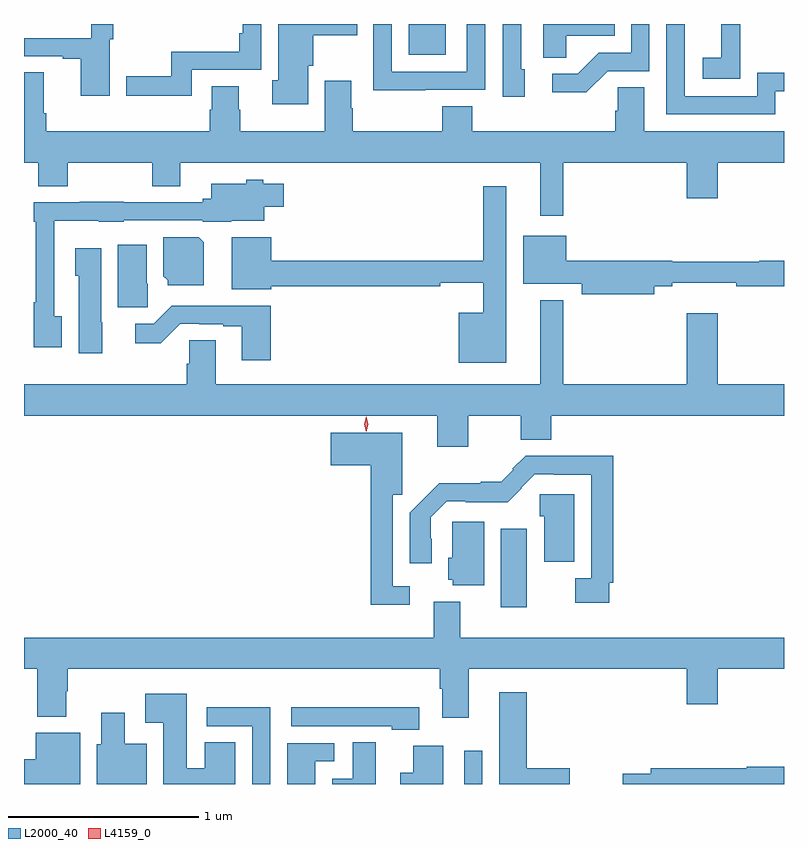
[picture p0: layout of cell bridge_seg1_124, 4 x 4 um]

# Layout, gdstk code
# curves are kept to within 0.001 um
import gdstk
lib = gdstk.Library(unit=1e-6, precision=1e-09)
def R(c, l, rs):  # rectangles x0, y0, x1, y1
    for r in rs: c.add(gdstk.rectangle(r[:2], r[2:], *l))
def P(c, l, *ps):  # polygons
    for p in ps: c.add(gdstk.Polygon(p, *l))
L2000_40 = (2000, 40)
L4159_0 = (4159, 0)

bridge_seg1_124 = lib.new_cell('bridge_seg1_124')
R(bridge_seg1_124, L2000_40, [(235.764,507.169,235.86,507.343), (235.958,508.098,236.095,508.513), (235.472,511.007,235.669,511.169)])
P(bridge_seg1_124, L2000_40, [(236.301,511.106),(236.558,511.106),(236.558,511.169),(236.18,511.169),(236.18,510.991),(236.301,510.991)],
  [(236.083,510.93),(236.064,510.93),(236.064,511.169),(235.968,511.169),(235.968,510.786),(236.083,510.786)],
  [(236.52,510.921),(236.739,510.921),(236.739,511.169),(236.643,511.169),(236.643,511.017),(236.474,511.017),(236.363,510.906),(236.229,510.906),(236.229,510.809),(236.407,510.809)],
  [(237.219,511.087),(237.218,511.087),(237.218,511.169),(237.119,511.169),(237.119,510.991),(237.021,510.991),(237.021,510.881),(237.219,510.881)],
  [(234.33,510.927),(234.696,510.927),(234.696,511.169),(234.6,511.169),(234.6,511.12),(234.58,511.12),(234.58,511.024),(234.222,511.024),(234.222,510.893),(233.985,510.893),(233.985,510.791),(234.33,510.791)],
  [(233.898,511.088),(233.918,511.088),(233.918,511.169),(233.802,511.169),(233.802,511.095),(233.448,511.095),(233.448,510.999),(233.651,510.999),(233.651,510.987),(233.747,510.987),(233.747,510.792),(233.898,510.792)],
  [(235.559,510.822),(235.875,510.822),(235.875,511.169),(235.779,511.169),(235.779,510.918),(235.383,510.918),(235.383,511.169),(235.287,511.169),(235.287,510.821),(235.559,510.821)],
  [(237.403,510.816),(237.448,510.816),(237.448,510.912),(237.306,510.912),(237.306,510.789),(236.925,510.789),(236.925,511.169),(236.829,511.169),(236.829,510.693),(237.403,510.693)],
  [(234.943,510.948),(234.97,510.948),(234.97,511.109),(235.201,511.109),(235.201,511.169),(234.785,511.169),(234.785,510.872),(234.755,510.872),(234.755,510.746),(234.943,510.746)],
  [(234.577,510.717),(234.577,510.842),(234.437,510.842),(234.437,510.717),(234.425,510.717),(234.425,510.604),(233.564,510.604),(233.564,510.7),(233.551,510.7),(233.551,510.914),(233.448,510.914),(233.448,510.44),(233.524,510.44),(233.524,510.316),(233.679,510.316),(233.679,510.44),(234.124,510.44),(234.124,510.316),(234.271,510.316),(234.271,510.44),(236.165,510.44),(236.165,510.159),(236.287,510.159),(236.287,510.44),(236.936,510.44),(236.936,510.252),(237.1,510.252),(237.1,510.44),(237.448,510.44),(237.448,510.604),(236.713,510.604),(236.713,510.836),(236.574,510.836),(236.574,510.713),(236.561,510.713),(236.561,510.604),(235.808,510.604),(235.808,510.737),(235.648,510.737),(235.648,510.604),(235.179,510.604),(235.179,510.725),(235.171,510.725),(235.171,510.871),(235.031,510.871),(235.031,510.604),(234.585,510.604),(234.585,510.717)],
  [(233.647,509.63),(233.607,509.63),(233.607,510.134),(233.841,510.134),(233.841,510.128),(233.973,510.128),(233.973,510.135),(234.39,510.135),(234.39,510.128),(234.54,510.128),(234.54,510.134),(234.712,510.134),(234.712,510.206),(234.814,510.206),(234.814,510.328),(234.708,510.328),(234.708,510.349),(234.618,510.349),(234.618,510.328),(234.434,510.328),(234.434,510.25),(234.39,510.25),(234.39,510.231),(233.973,510.231),(233.973,510.233),(233.741,510.233),(233.741,510.231),(233.499,510.231),(233.499,510.128),(233.511,510.128),(233.511,509.705),(233.499,509.705),(233.499,509.469),(233.647,509.469)],
  [(235.987,510.316),(235.866,510.316),(235.866,509.924),(234.748,509.924),(234.748,510.046),(234.542,510.046),(234.542,509.774),(234.748,509.774),(234.748,509.788),(235.64,509.788),(235.64,509.807),(235.866,509.807),(235.866,509.65),(235.736,509.65),(235.736,509.387),(235.987,509.387)],
  [(236.764,509.788),(236.86,509.788),(236.86,509.807),(237.196,509.807),(237.196,509.788),(237.448,509.788),(237.448,509.924),(237.317,509.924),(237.317,509.917),(236.86,509.917),(236.86,509.924),(236.302,509.924),(236.302,510.055),(236.075,510.055),(236.075,509.801),(236.384,509.801),(236.384,509.746),(236.764,509.746)],
  [(234.394,510.02),(234.368,510.046),(234.182,510.046),(234.182,509.842),(234.204,509.82),(234.204,509.795),(234.394,509.795)],
  [(234.098,509.802),(234.094,509.802),(234.094,510.007),(233.942,510.007),(233.942,509.679),(234.098,509.679)],
  [(233.86,509.598),(233.854,509.598),(233.854,509.989),(233.717,509.989),(233.717,509.844),(233.735,509.844),(233.735,509.436),(233.86,509.436)],
  [(235.786,509.108),(236.063,509.108),(236.063,508.982),(236.224,508.982),(236.224,509.108),(237.448,509.108),(237.448,509.272),(237.1,509.272),(237.1,509.647),(236.936,509.647),(236.936,509.272),(236.287,509.272),(236.287,509.716),(236.165,509.716),(236.165,509.272),(234.457,509.272),(234.457,509.504),(234.318,509.504),(234.318,509.382),(234.305,509.382),(234.305,509.272),(233.448,509.272),(233.448,509.108),(235.622,509.108),(235.622,508.944),(235.786,508.944)],
  [(234.746,509.686),(234.226,509.686),(234.132,509.592),(234.033,509.592),(234.033,509.49),(234.168,509.49),(234.27,509.592),(234.37,509.592),(234.37,509.589),(234.497,509.589),(234.497,509.577),(234.593,509.577),(234.593,509.4),(234.746,509.4)],
  [(235.477,508.209),(235.389,508.209),(235.389,508.692),(235.439,508.692),(235.439,509.017),(235.062,509.017),(235.062,508.847),(235.273,508.847),(235.273,508.112),(235.477,508.112)],
  [(236.529,508.228),(236.549,508.228),(236.549,508.897),(236.089,508.897),(236.019,508.827),(236.023,508.823),(235.961,508.761),(235.853,508.761),(235.853,508.753),(235.633,508.753),(235.478,508.596),(235.478,508.332),(235.594,508.332),(235.594,508.459),(235.59,508.459),(235.59,508.572),(235.674,508.656),(235.774,508.656),(235.774,508.652),(235.993,508.652),(236.067,508.725),(236.064,508.728),(236.136,508.8),(236.236,508.8),(236.236,508.796),(236.433,508.796),(236.433,508.252),(236.349,508.252),(236.349,508.124),(236.529,508.124)],
  [(236.344,508.695),(236.163,508.695),(236.163,508.578),(236.186,508.578),(236.186,508.34),(236.344,508.34)],
  [(235.87,508.548),(235.701,508.548),(235.701,508.359),(235.682,508.359),(235.682,508.245),(235.704,508.245),(235.704,508.214),(235.87,508.214)],
  [(233.448,507.776),(233.519,507.776),(233.519,507.524),(233.671,507.524),(233.671,507.656),(233.679,507.656),(233.679,507.776),(235.637,507.776),(235.637,507.67),(235.649,507.67),(235.649,507.519),(235.789,507.519),(235.789,507.776),(236.936,507.776),(236.936,507.588),(237.1,507.588),(237.1,507.776),(237.448,507.776),(237.448,507.94),(235.744,507.94),(235.744,508.129),(235.604,508.129),(235.604,507.94),(233.448,507.94)],
  [(236.32,507.253),(236.093,507.253),(236.093,507.652),(235.949,507.652),(235.949,507.169),(236.32,507.169)],
  [(234.559,507.389),(234.398,507.389),(234.398,507.253),(234.304,507.253),(234.304,507.643),(234.087,507.643),(234.087,507.491),(234.182,507.491),(234.182,507.169),(234.559,507.169)],
  [(235.528,507.574),(234.855,507.574),(234.855,507.473),(235.383,507.473),(235.383,507.455),(235.528,507.455)],
  [(234.744,507.572),(234.411,507.572),(234.411,507.474),(234.648,507.474),(234.648,507.169),(234.744,507.169)],
  [(234.094,507.382),(233.977,507.382),(233.977,507.544),(233.855,507.544),(233.855,507.378),(233.831,507.378),(233.831,507.169),(234.094,507.169)],
  [(233.743,507.439),(233.51,507.439),(233.51,507.3),(233.448,507.3),(233.448,507.169),(233.743,507.169)],
  [(235.3,507.388),(235.178,507.388),(235.178,507.196),(235.07,507.196),(235.07,507.169),(235.3,507.169)],
  [(234.982,507.288),(235.081,507.288),(235.081,507.384),(234.833,507.384),(234.833,507.169),(234.982,507.169)],
  [(235.654,507.37),(235.496,507.37),(235.496,507.229),(235.427,507.229),(235.427,507.169),(235.654,507.169)],
  [(237.448,507.26),(237.251,507.26),(237.251,507.253),(236.747,507.253),(236.747,507.224),(236.598,507.224),(236.598,507.169),(237.448,507.169)])
P(bridge_seg1_124, L4159_0, [(235.25,509.022),(235.249,509.023),(235.24,509.063),(235.25,509.103),(235.25,509.103),(235.25,509.103),(235.26,509.063),(235.25,509.023)])

lib.write_gds('bridge_seg1_124.gds')
